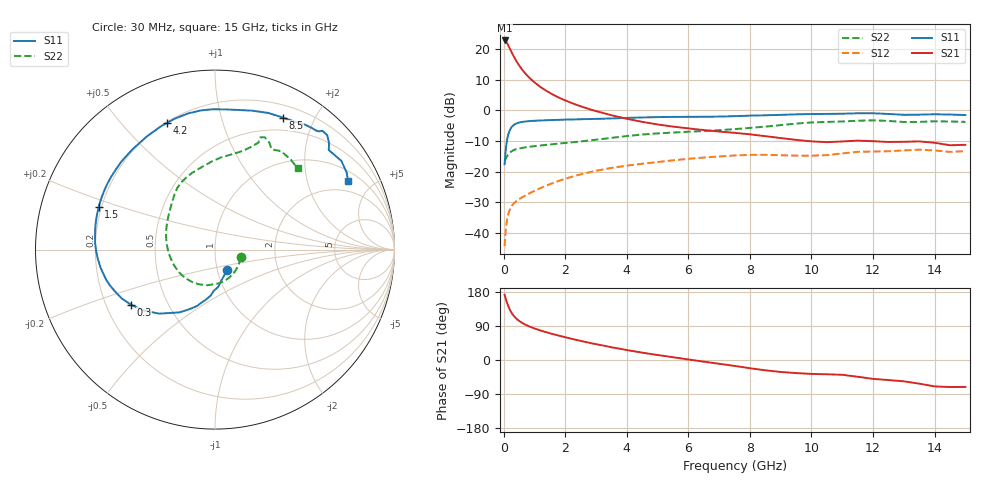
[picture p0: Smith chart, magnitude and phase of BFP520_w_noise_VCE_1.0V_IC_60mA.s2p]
! Infineon Technologies  Discrete & RF Semiconductors
! BFP520
! VCE =  1.0 V,  IC =  60 mA
! Common Emitter S-Parameters:  Oct 2015
# GHz  S  MA  R  50
!  f  S11  S21  S12  S22
! GHz  MAG  ANG  MAG  ANG  MAG  ANG  MAG  ANG
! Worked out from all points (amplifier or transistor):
!   109 points, 30 MHz to 15 GHz, reference 50 ohm
!   highest |S21| = 22.7 dB at 30 MHz (marker M1)
!   |S21| within 3 dB of that: start of sweep to 218 MHz
!   unconditionally stable (mu >= 1): start of sweep to end of sweep
!   at 450 MHz: K = 1.56, MAG = 18.0 dB, |S12| = -29.3 dB
!   at 4 GHz: K = 2.39, MAG = 1.0 dB, |S12| = -18.1 dB
!   at 15 GHz: K = 2.02, MAG = -4.7 dB, |S12| = -13.3 dB
!   lowest NFmin = 3.65 dB at 450 MHz
!   S11 on the Smith chart (normalised r, x): 30 MHz: 1.11, -0.26; 300 MHz: 0.30, -0.27; 1.5 GHz: 0.19, +0.17; 4.2 GHz: 0.20, +0.67; 8.5 GHz: 0.34, +1.59; 15 GHz: 1.41, +3.58
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0.03  0.1324 -60.1  13.7 172.0  0.0061 54.9  0.1489 -17.1
0.06  0.2082 -85.0  13.35 163.6  0.0102 59.2  0.1592 -38.7
0.08  0.2572 -95.3  13.03 158.2  0.0129 59.5  0.1668 -50.8
0.11  0.3279 -107.5  12.37 150.7  0.0163 57.3  0.1773 -66.9
0.14  0.3857 -117.2  11.64 144.0  0.0194 54.8  0.187 -80.7
0.2  0.4737 -131.1  10.12 132.8  0.0241 50.2  0.2032 -102.1
0.25  0.5241 -139.8  8.991 125.4  0.027 47.2  0.2134 -115.2
0.3  0.5601 -146.8  8.016 119.3  0.0293 44.9  0.2213 -125.5
0.35  0.5867 -152.4  7.179 114.3  0.0311 43.6  0.2269 -133.7
0.45  0.6187 -161.2  5.894 106.5  0.0342 42.2  0.2352 -145.9
0.6  0.6446 -170.7  4.593 97.9  0.0382 41.9  0.2436 -158.4
0.7  0.6551 -175.5  3.987 93.5  0.0407 42.1  0.2483 -164.6
1  0.673 173.3  2.847 83.3  0.0485 43.4  0.2597 -177.3
1.5  0.6903 159.7  1.917 70.6  0.0624 43.7  0.277 168.7
2.6  0.716 136.7  1.115 48.6  0.0928 37.8  0.314 146.7
4.2  0.7547 110.8  0.693 23.6  0.1286 23.7  0.3884 124.5
5.1  0.774 100.1  0.577 12.0  0.145 16.4  0.4217 115.5
7.6  0.8037 73.7  0.424 -16.8  0.184 -7.2  0.4969 90.6
8.5  0.8272 62.8  0.378 -27.2  0.1878 -16.8  0.5409 79.6
10.5  0.8712 49.4  0.302 -37.7  0.1858 -26.7  0.645 67.8
13  0.8423 41.2  0.306 -56.3  0.2214 -46.9  0.6436 60.8
15  0.8346 27.4  0.273 -71.1  0.2156 -62.8  0.6458 44.6
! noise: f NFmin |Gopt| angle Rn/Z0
0.45  3.65  0.26  -160  0.32
0.9  3.65  0.28  -151  0.34
1.9  3.9  0.37  -130  0.47
2.4  3.98  0.38  -127  0.44
3.5  4.15  0.37  -112  0.61
